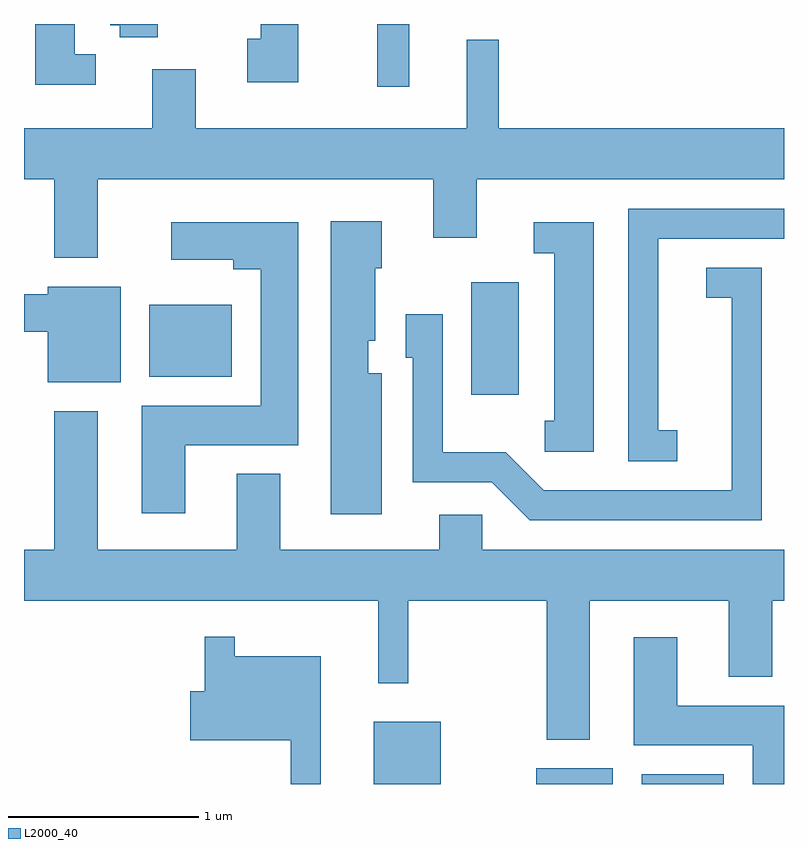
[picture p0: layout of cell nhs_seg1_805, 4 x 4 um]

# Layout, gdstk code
import gdstk
lib = gdstk.Library(unit=1e-6, precision=1e-09)
def R(c, l, rs):  # rectangles x0, y0, x1, y1
    for r in rs: c.add(gdstk.rectangle(r[:2], r[2:], *l))
def P(c, l, *ps):  # polygons
    for p in ps: c.add(gdstk.Polygon(p, *l))
L2000_40 = (2000, 40)

nhs_seg1_805 = lib.new_cell('nhs_seg1_805')
R(nhs_seg1_805, L2000_40, [(211.451,909.712,211.804,910.039), (212.306,909.712,212.709,909.794), (212.861,909.712,213.294,909.764), (211.966,911.761,212.214,912.354), (210.271,911.856,210.704,912.234), (211.471,913.383,211.639,913.712)])
P(nhs_seg1_805, L2000_40, [(211.054,913.712),(210.856,913.712),(210.856,913.634),(210.786,913.634),(210.786,913.406),(211.054,913.406)],
  [(209.988,913.554),(209.879,913.554),(209.879,913.712),(209.671,913.712),(209.671,913.391),(209.988,913.391)],
  [(210.314,913.712),(210.066,913.712),(210.066,913.706),(210.116,913.706),(210.116,913.641),(210.314,913.641)],
  [(209.999,912.896),(211.766,912.896),(211.766,912.586),(211.994,912.586),(211.994,912.896),(213.611,912.896),(213.611,913.164),(212.109,913.164),(212.109,913.628),(211.941,913.628),(211.941,913.164),(210.514,913.164),(210.514,913.474),(210.286,913.474),(210.286,913.164),(209.611,913.164),(209.611,912.896),(209.771,912.896),(209.771,912.481),(209.999,912.481)],
  [(213.048,911.574),(212.949,911.574),(212.949,912.581),(213.611,912.581),(213.611,912.739),(212.791,912.739),(212.791,911.411),(213.048,911.411)],
  [(211.494,911.874),(211.424,911.874),(211.424,912.046),(211.459,912.046),(211.459,912.426),(211.494,912.426),(211.494,912.674),(211.226,912.674),(211.226,911.131),(211.494,911.131)],
  [(210.459,911.496),(211.054,911.496),(211.054,912.669),(210.386,912.669),(210.386,912.471),(210.711,912.471),(210.711,912.421),(210.856,912.421),(210.856,911.704),(210.231,911.704),(210.231,911.136),(210.459,911.136)],
  [(212.609,912.669),(212.293,912.669),(212.293,912.506),(212.401,912.506),(212.401,911.624),(212.353,911.624),(212.353,911.461),(212.609,911.461)],
  [(213.494,912.429),(213.203,912.429),(213.203,912.271),(213.336,912.271),(213.336,911.259),(212.347,911.259),(212.147,911.459),(211.814,911.459),(211.814,912.184),(211.621,912.184),(211.621,911.956),(211.656,911.956),(211.656,911.301),(212.074,911.301),(212.274,911.101),(213.494,911.101)],
  [(210.119,912.329),(209.736,912.329),(209.736,912.289),(209.611,912.289),(209.611,912.091),(209.736,912.091),(209.736,911.826),(210.119,911.826)],
  [(212.589,910.676),(213.321,910.676),(213.321,910.276),(213.549,910.276),(213.549,910.676),(213.611,910.676),(213.611,910.944),(212.024,910.944),(212.024,911.129),(211.796,911.129),(211.796,910.944),(210.959,910.944),(210.959,911.344),(210.731,911.344),(210.731,910.944),(209.999,910.944),(209.999,911.674),(209.771,911.674),(209.771,910.944),(209.611,910.944),(209.611,910.676),(211.476,910.676),(211.476,910.243),(211.634,910.243),(211.634,910.676),(212.361,910.676),(212.361,909.946),(212.589,909.946)],
  [(211.174,910.384),(210.719,910.384),(210.719,910.488),(210.561,910.488),(210.561,910.199),(210.486,910.199),(210.486,909.941),(211.016,909.941),(211.016,909.712),(211.174,909.712)],
  [(213.611,910.124),(213.049,910.124),(213.049,910.484),(212.821,910.484),(212.821,909.916),(213.446,909.916),(213.446,909.712),(213.611,909.712)])

lib.write_gds('nhs_seg1_805.gds')
